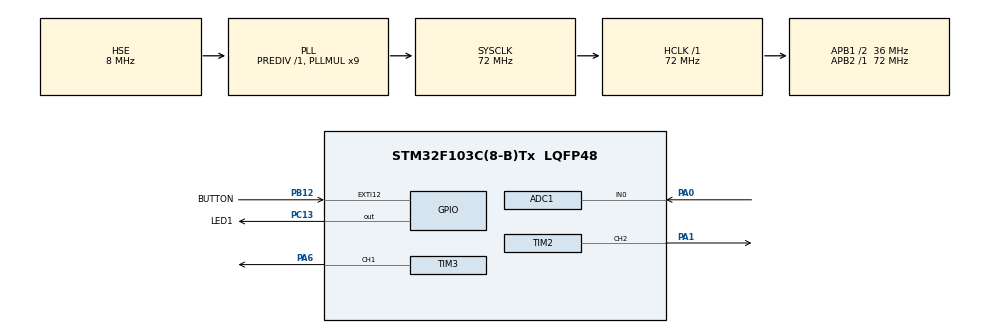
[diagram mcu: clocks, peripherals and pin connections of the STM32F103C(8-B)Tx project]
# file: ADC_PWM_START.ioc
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ADC1.Channel-0\#ChannelRegularConversion=ADC_CHANNEL_0
ADC1.NbrOfConversionFlag=1
ADC1.Rank-0\#ChannelRegularConversion=1
ADC1.SamplingTime-0\#ChannelRegularConversion=ADC_SAMPLETIME_55CYCLES_5
ADC1.master=1
Mcu.Family=STM32F1
Mcu.Name=STM32F103C(8-B)Tx
Mcu.Package=LQFP48
NVIC.EXTI15_10_IRQn=true\:0\:0\:false\:false\:true\:true\:true\:true
NVIC.PriorityGroup=NVIC_PRIORITYGROUP_4
PA0-WKUP.Signal=ADCx_IN0
PA1.Signal=S_TIM2_CH2
PA13.Mode=Serial_Wire
PA13.Signal=SYS_JTMS-SWDIO
PA14.Mode=Serial_Wire
PA14.Signal=SYS_JTCK-SWCLK
PA6.Signal=S_TIM3_CH1
PB12.GPIO_Label=BUTTON
PB12.GPIO_ModeDefaultEXTI=GPIO_MODE_IT_RISING_FALLING
PB12.GPIO_PuPd=GPIO_PULLUP
PB12.Signal=GPXTI12
PC13-TAMPER-RTC.GPIO_Label=LED1
PC13-TAMPER-RTC.GPIO_PuPd=GPIO_NOPULL
PC13-TAMPER-RTC.PinState=GPIO_PIN_SET
PC13-TAMPER-RTC.Signal=GPIO_Output
PD0-OSC_IN.Mode=HSE-External-Oscillator
PD0-OSC_IN.Signal=RCC_OSC_IN
PD1-OSC_OUT.Mode=HSE-External-Oscillator
PD1-OSC_OUT.Signal=RCC_OSC_OUT
ProjectManager.HeapSize=0x200
ProjectManager.StackSize=0x400
ProjectManager.TargetToolchain=CMake
RCC.ADCPresc=RCC_ADCPCLK2_DIV6
RCC.AHBFreq_Value=72000000
RCC.APB1CLKDivider=RCC_HCLK_DIV2
RCC.APB1Freq_Value=36000000
RCC.APB1TimFreq_Value=72000000
RCC.APB2Freq_Value=72000000
RCC.APB2TimFreq_Value=72000000
RCC.HCLKFreq_Value=72000000
RCC.PLLMUL=RCC_PLL_MUL9
RCC.PLLSourceVirtual=RCC_PLLSOURCE_HSE
RCC.SYSCLKFreq_VALUE=72000000
RCC.SYSCLKSource=RCC_SYSCLKSOURCE_PLLCLK
RCC.USBFreq_Value=72000000
SH.ADCx_IN0.0=ADC1_IN0,IN0
SH.S_TIM2_CH2.0=TIM2_CH2,PWM Generation2 CH2
SH.S_TIM3_CH1.0=TIM3_CH1,PWM Generation1 CH1
TIM2.Channel-PWM\ Generation2\ CH2=TIM_CHANNEL_2
TIM2.Period=19999
TIM2.Prescaler=71
TIM2.Pulse-PWM\ Generation2\ CH2=1500
TIM3.Channel-PWM\ Generation1\ CH1=TIM_CHANNEL_1
TIM3.Period=999
TIM3.Prescaler=71
board=custom

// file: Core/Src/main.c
/* USER CODE BEGIN Header */
/**
  ******************************************************************************
  * @file           : main.c
  * @brief          : Main program body
  ******************************************************************************
  * @attention
  *
  * Copyright (c) 2026 STMicroelectronics.
  * All rights reserved.
  *
  * This software is licensed under terms that can be found in the LICENSE file
  * in the root directory of this software component.
  * If no LICENSE file comes with this software, it is provided AS-IS.
  *
  ******************************************************************************
  */
/* USER CODE END Header */
#include "main.h"

ADC_HandleTypeDef hadc1;

TIM_HandleTypeDef htim2;
TIM_HandleTypeDef htim3;

/* USER CODE BEGIN PV */
volatile uint32_t adc_value = 0;      //adc读取的原始数值喵
volatile uint32_t pwm_pulse = 1500;   //pwm高电平持续时间
volatile uint32_t servo_angle = 90;   //舵机默认置中喵

volatile uint32_t key_edge_pending = 0;  //是否有按键时间需要处理
volatile uint32_t key_edge_tick = 0;     //上一次电平变化的ticks喵

uint32_t press_tick;                //按下的时间
uint8_t  press_status;              //按键按下状态
uint8_t  long_pressed;              //是否长按

uint8_t led_fast;     //是否启用快闪
uint8_t led_status;   //LED是否启动
uint32_t blink_tick = 0;  //LED闪烁计数

uint32_t breath_tick = 0; //呼吸灯计数ticks喵
int8_t breath_dir = 1;  //呼吸灯计数方向喵
uint16_t breath_duty = 0;  //占空比计数值
/* USER CODE END PV */

void SystemClock_Config(void);
static void MX_GPIO_Init(void);
static void MX_ADC1_Init(void);
static void MX_TIM2_Init(void);
static void MX_TIM3_Init(void);
/* USER CODE BEGIN PFP */
void led_process(void);
void key_scanning(void);
void breath_led(void);
/* USER CODE END PFP */

int main(void)
{

  /* MCU Configuration--------------------------------------------------------*/

  /* Reset of all peripherals, Initializes the Flash interface and the Systick. */
  HAL_Init();

  /* Configure the system clock */
  SystemClock_Config();

  /* Initialize all configured peripherals */
  MX_GPIO_Init();
  MX_ADC1_Init();
  MX_TIM2_Init();
  MX_TIM3_Init();
  /* USER CODE BEGIN 2 */
  if (HAL_ADCEx_Calibration_Start(&hadc1) != HAL_OK )   //初始化ADC喵
  {
    Error_Handler();
  }

  //设置定时器的触发数值，置中舵机
  __HAL_TIM_SET_COMPARE(
    &htim2,
    TIM_CHANNEL_2,
    1500
  );

  //正式启动PWM喵
  if (HAL_TIM_PWM_Start(&htim2, TIM_CHANNEL_2) != HAL_OK)
  {
    Error_Handler();
  }

  if (HAL_TIM_PWM_Start(&htim3, TIM_CHANNEL_1) != HAL_OK)
  {
    Error_Handler();
  }

  /* USER CODE END 2 */

  /* Infinite loop */
  while (1)
  {

    /* USER CODE BEGIN 3 */
    if (HAL_ADC_Start(&hadc1) == HAL_OK)
    {
      if (HAL_ADC_PollForConversion(&hadc1, 10) == HAL_OK)
      {
        adc_value = HAL_ADC_GetValue(&hadc1);
        pwm_pulse = 500 + (adc_value * 2000) / 4095;
        servo_angle = (adc_value * 180) / 4095;
        __HAL_TIM_SET_COMPARE(&htim2, TIM_CHANNEL_2, pwm_pulse);
      }
      HAL_ADC_Stop(&hadc1);
    }

    //按键扫描和led刷新
    led_process();
    key_scanning();
    breath_led();
  }
  /* USER CODE END 3 */
}

void SystemClock_Config(void)
{
  RCC_OscInitTypeDef RCC_OscInitStruct = {0};
  RCC_ClkInitTypeDef RCC_ClkInitStruct = {0};
  RCC_PeriphCLKInitTypeDef PeriphClkInit = {0};

  /** Initializes the RCC Oscillators according to the specified parameters
  * in the RCC_OscInitTypeDef structure.
  */
  RCC_OscInitStruct.OscillatorType = RCC_OSCILLATORTYPE_HSE;
  RCC_OscInitStruct.HSEState = RCC_HSE_ON;
  RCC_OscInitStruct.HSEPredivValue = RCC_HSE_PREDIV_DIV1;
  RCC_OscInitStruct.HSIState = RCC_HSI_ON;
  RCC_OscInitStruct.PLL.PLLState = RCC_PLL_ON;
  RCC_OscInitStruct.PLL.PLLSource = RCC_PLLSOURCE_HSE;
  RCC_OscInitStruct.PLL.PLLMUL = RCC_PLL_MUL9;
  if (HAL_RCC_OscConfig(&RCC_OscInitStruct) != HAL_OK)
  {
    Error_Handler();
  }

  /** Initializes the CPU, AHB and APB buses clocks
  */
  RCC_ClkInitStruct.ClockType = RCC_CLOCKTYPE_HCLK|RCC_CLOCKTYPE_SYSCLK
                              |RCC_CLOCKTYPE_PCLK1|RCC_CLOCKTYPE_PCLK2;
  RCC_ClkInitStruct.SYSCLKSource = RCC_SYSCLKSOURCE_PLLCLK;
  RCC_ClkInitStruct.AHBCLKDivider = RCC_SYSCLK_DIV1;
  RCC_ClkInitStruct.APB1CLKDivider = RCC_HCLK_DIV2;
  RCC_ClkInitStruct.APB2CLKDivider = RCC_HCLK_DIV1;

  if (HAL_RCC_ClockConfig(&RCC_ClkInitStruct, FLASH_LATENCY_2) != HAL_OK)
  {
    Error_Handler();
  }
  PeriphClkInit.PeriphClockSelection = RCC_PERIPHCLK_ADC;
  PeriphClkInit.AdcClockSelection = RCC_ADCPCLK2_DIV6;
  if (HAL_RCCEx_PeriphCLKConfig(&PeriphClkInit) != HAL_OK)
  {
    Error_Handler();
  }
}

static void MX_ADC1_Init(void)
{

  ADC_ChannelConfTypeDef sConfig = {0};

  /** Common config
  */
  hadc1.Instance = ADC1;
  hadc1.Init.ScanConvMode = ADC_SCAN_DISABLE;
  hadc1.Init.ContinuousConvMode = DISABLE;
  hadc1.Init.DiscontinuousConvMode = DISABLE;
  hadc1.Init.ExternalTrigConv = ADC_SOFTWARE_START;
  hadc1.Init.DataAlign = ADC_DATAALIGN_RIGHT;
  hadc1.Init.NbrOfConversion = 1;
  if (HAL_ADC_Init(&hadc1) != HAL_OK)
  {
    Error_Handler();
  }

  /** Configure Regular Channel
  */
  sConfig.Channel = ADC_CHANNEL_0;
  sConfig.Rank = ADC_REGULAR_RANK_1;
  sConfig.SamplingTime = ADC_SAMPLETIME_55CYCLES_5;
  if (HAL_ADC_ConfigChannel(&hadc1, &sConfig) != HAL_OK)
  {
    Error_Handler();
  }

}

static void MX_TIM2_Init(void)
{

  TIM_MasterConfigTypeDef sMasterConfig = {0};
  TIM_OC_InitTypeDef sConfigOC = {0};

  htim2.Instance = TIM2;
  htim2.Init.Prescaler = 71;
  htim2.Init.CounterMode = TIM_COUNTERMODE_UP;
  htim2.Init.Period = 19999;
  htim2.Init.ClockDivision = TIM_CLOCKDIVISION_DIV1;
  htim2.Init.AutoReloadPreload = TIM_AUTORELOAD_PRELOAD_DISABLE;
  if (HAL_TIM_PWM_Init(&htim2) != HAL_OK)
  {
    Error_Handler();
  }
  sMasterConfig.MasterOutputTrigger = TIM_TRGO_RESET;
  sMasterConfig.MasterSlaveMode = TIM_MASTERSLAVEMODE_DISABLE;
  if (HAL_TIMEx_MasterConfigSynchronization(&htim2, &sMasterConfig) != HAL_OK)
  {
    Error_Handler();
  }
  sConfigOC.OCMode = TIM_OCMODE_PWM1;
  sConfigOC.Pulse = 1500;
  sConfigOC.OCPolarity = TIM_OCPOLARITY_HIGH;
  sConfigOC.OCFastMode = TIM_OCFAST_DISABLE;
  if (HAL_TIM_PWM_ConfigChannel(&htim2, &sConfigOC, TIM_CHANNEL_2) != HAL_OK)
  {
    Error_Handler();
  }
  HAL_TIM_MspPostInit(&htim2);

}

static void MX_TIM3_Init(void)
{

  TIM_MasterConfigTypeDef sMasterConfig = {0};
  TIM_OC_InitTypeDef sConfigOC = {0};

  htim3.Instance = TIM3;
  htim3.Init.Prescaler = 71;
  htim3.Init.CounterMode = TIM_COUNTERMODE_UP;
  htim3.Init.Period = 999;
  htim3.Init.ClockDivision = TIM_CLOCKDIVISION_DIV1;
  htim3.Init.AutoReloadPreload = TIM_AUTORELOAD_PRELOAD_DISABLE;
  if (HAL_TIM_PWM_Init(&htim3) != HAL_OK)
  {
    Error_Handler();
  }
  sMasterConfig.MasterOutputTrigger = TIM_TRGO_RESET;
  sMasterConfig.MasterSlaveMode = TIM_MASTERSLAVEMODE_DISABLE;
  if (HAL_TIMEx_MasterConfigSynchronization(&htim3, &sMasterConfig) != HAL_OK)
  {
    Error_Handler();
  }
  sConfigOC.OCMode = TIM_OCMODE_PWM1;
  sConfigOC.Pulse = 0;
  sConfigOC.OCPolarity = TIM_OCPOLARITY_HIGH;
  sConfigOC.OCFastMode = TIM_OCFAST_DISABLE;
  if (HAL_TIM_PWM_ConfigChannel(&htim3, &sConfigOC, TIM_CHANNEL_1) != HAL_OK)
  {
    Error_Handler();
  }
  HAL_TIM_MspPostInit(&htim3);

}

static void MX_GPIO_Init(void)
{
  GPIO_InitTypeDef GPIO_InitStruct = {0};

  /* GPIO Ports Clock Enable */
  __HAL_RCC_GPIOC_CLK_ENABLE();
  __HAL_RCC_GPIOD_CLK_ENABLE();
  __HAL_RCC_GPIOA_CLK_ENABLE();
  __HAL_RCC_GPIOB_CLK_ENABLE();

  /*Configure GPIO pin Output Level */
  HAL_GPIO_WritePin(LED1_GPIO_Port, LED1_Pin, GPIO_PIN_SET);

  /*Configure GPIO pin : LED1_Pin */
  GPIO_InitStruct.Pin = LED1_Pin;
  GPIO_InitStruct.Mode = GPIO_MODE_OUTPUT_PP;
  GPIO_InitStruct.Pull = GPIO_NOPULL;
  GPIO_InitStruct.Speed = GPIO_SPEED_FREQ_LOW;
  HAL_GPIO_Init(LED1_GPIO_Port, &GPIO_InitStruct);

  /*Configure GPIO pin : BUTTON_Pin */
  GPIO_InitStruct.Pin = BUTTON_Pin;
  GPIO_InitStruct.Mode = GPIO_MODE_IT_RISING_FALLING;
  GPIO_InitStruct.Pull = GPIO_PULLUP;
  HAL_GPIO_Init(BUTTON_GPIO_Port, &GPIO_InitStruct);

  /* EXTI interrupt init*/
  HAL_NVIC_SetPriority(EXTI15_10_IRQn, 0, 0);
  HAL_NVIC_EnableIRQ(EXTI15_10_IRQn);

}

/* USER CODE BEGIN 4 */
void HAL_GPIO_EXTI_Callback(uint16_t GPIO_Pin)
{
  if (GPIO_Pin == GPIO_PIN_12)
  {
    key_edge_tick = HAL_GetTick();  //记录边沿触发时间
    key_edge_pending = 1;           //传到主循环任务函数处理
  }
}

/**
 * @brief 按键扫描函数喵
*/

void key_scanning(void)
{
  uint32_t present_time = HAL_GetTick();

  if (key_edge_pending)
  {
    if ((present_time - key_edge_tick)>=20)
    {
      key_edge_pending = 0;
      GPIO_PinState PIN_STATE = HAL_GPIO_ReadPin(BUTTON_GPIO_Port, BUTTON_Pin);
      uint8_t new_pressed = (PIN_STATE == GPIO_PIN_RESET);

      if (new_pressed != press_status)
      {
        press_status = new_pressed;

        if (press_status)
        {
          press_tick = present_time;
          long_pressed = 0;
        }
        else
        {
          if (!long_pressed)
          {
            led_fast = 0;
            led_status = ! led_status;
          }

        }

      }

    }

  }

  if (press_status && !long_pressed && HAL_GPIO_ReadPin(BUTTON_GPIO_Port, BUTTON_Pin) == GPIO_PIN_RESET && (present_time - press_tick) >= 1000)
  {
    long_pressed = 1;
    led_fast = ! led_fast;

    blink_tick = present_time;
  }

}

/**
 * @brief led状态切换函数喵喵喵
 */
void led_process(void)
{
  uint32_t present_time = HAL_GetTick();

  if (led_fast)     //led处于快闪模式的时候才更新led_status
  {
    if ((present_time - blink_tick) >= 200)
    {
      blink_tick = present_time;
      led_status = ! led_status;
    }
  }

  HAL_GPIO_WritePin(LED1_GPIO_Port, LED1_Pin, led_status ? GPIO_PIN_RESET : GPIO_PIN_SET);
}

void breath_led(void)
{
  uint32_t present_time = HAL_GetTick();  //每一次调用breath_led都要更新一次时间喵

  if ((present_time - breath_tick) >= 10) //每10ms更新亮度
  {
    breath_tick = present_time;   //重置breathtick

    int32_t next_duty = (int32_t)breath_duty + breath_dir * 10;

    if (next_duty >= 1000)
    {
      next_duty = 1000;
      breath_dir = -1;
    }
    else if (next_duty <= 0)
    {
      next_duty = 0;
      breath_dir = 1;
    }

    breath_duty = (uint16_t) next_duty; //更新占空比数值

    __HAL_TIM_SET_COMPARE(&htim3,TIM_CHANNEL_1,breath_duty);
  }
}
/* USER CODE END 4 */

void Error_Handler(void)
{
  __disable_irq();
  while (1)
  {
  }
}
